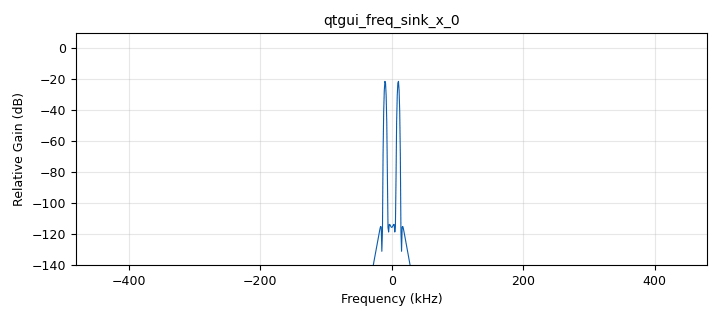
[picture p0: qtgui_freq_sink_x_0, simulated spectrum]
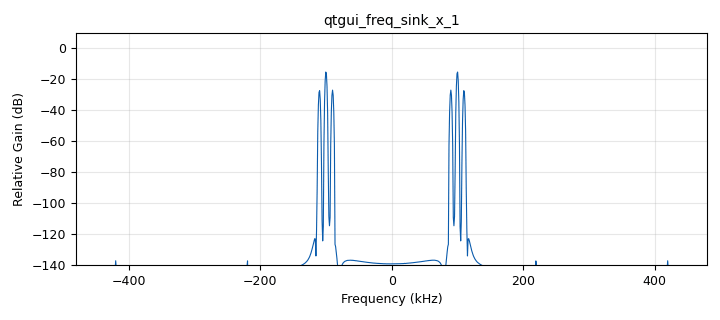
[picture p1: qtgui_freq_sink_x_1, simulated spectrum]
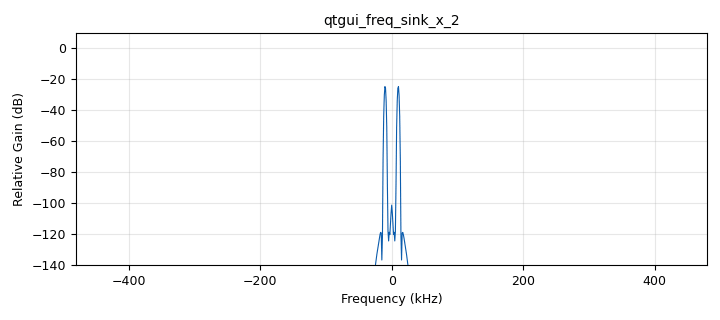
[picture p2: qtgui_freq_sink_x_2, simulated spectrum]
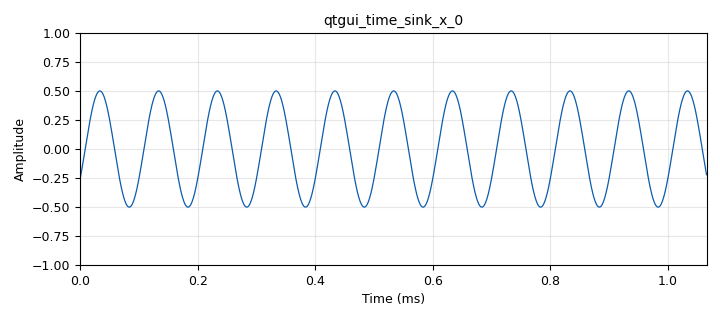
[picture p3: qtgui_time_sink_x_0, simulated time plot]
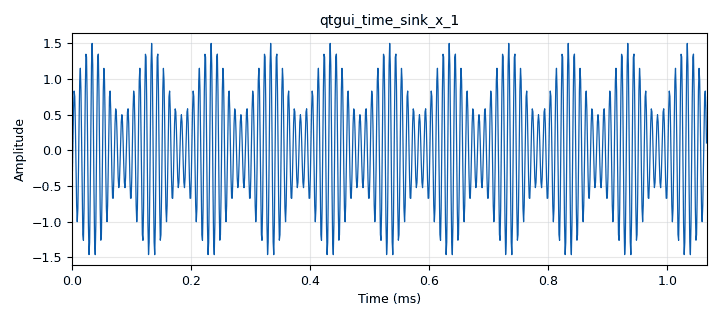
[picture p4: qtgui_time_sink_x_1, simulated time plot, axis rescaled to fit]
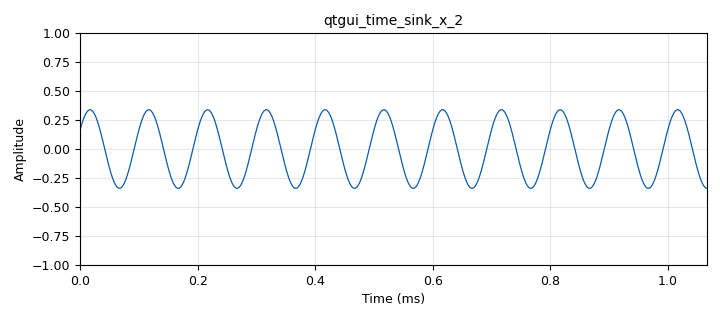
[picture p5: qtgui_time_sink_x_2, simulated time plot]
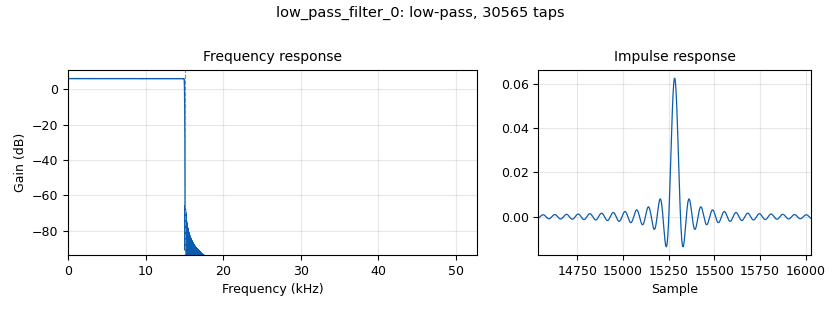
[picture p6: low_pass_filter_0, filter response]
<?xml version='1.0' encoding='utf-8'?>
<?grc format='1' created='3.7.11'?>
<flow_graph>
<block>
<key>options</key>
<param><key>id</key><value>top_block</value></param>
<param><key>generate_options</key><value>qt_gui</value></param>
</block>
<block>
<key>variable</key>
<param><key>id</key><value>samp_rate</value></param>
<param><key>value</key><value>960000</value></param>
</block>
<block>
<key>analog_sig_source_x</key>
<param><key>id</key><value>analog_sig_source_x_0</value></param>
<param><key>amp</key><value>0.5</value></param>
<param><key>freq</key><value>10000</value></param>
<param><key>offset</key><value>0</value></param>
<param><key>type</key><value>float</value></param>
<param><key>samp_rate</key><value>samp_rate</value></param>
<param><key>waveform</key><value>analog.GR_COS_WAVE</value></param>
</block>
<block>
<key>analog_sig_source_x</key>
<param><key>id</key><value>analog_sig_source_x_1</value></param>
<param><key>amp</key><value>1</value></param>
<param><key>freq</key><value>100000</value></param>
<param><key>offset</key><value>0</value></param>
<param><key>type</key><value>float</value></param>
<param><key>samp_rate</key><value>samp_rate</value></param>
<param><key>waveform</key><value>analog.GR_COS_WAVE</value></param>
</block>
<block>
<key>blocks_abs_xx</key>
<param><key>id</key><value>blocks_abs_xx_0</value></param>
<param><key>type</key><value>float</value></param>
</block>
<block>
<key>blocks_add_xx</key>
<param><key>id</key><value>blocks_add_xx_0</value></param>
<param><key>type</key><value>float</value></param>
</block>
<block>
<key>blocks_multiply_xx</key>
<param><key>id</key><value>blocks_multiply_xx_0</value></param>
<param><key>type</key><value>float</value></param>
</block>
<block>
<key>blocks_throttle</key>
<param><key>id</key><value>blocks_throttle_0</value></param>
<param><key>samples_per_second</key><value>samp_rate</value></param>
<param><key>type</key><value>float</value></param>
</block>
<block>
<key>blocks_throttle</key>
<param><key>id</key><value>blocks_throttle_1</value></param>
<param><key>samples_per_second</key><value>samp_rate</value></param>
<param><key>type</key><value>float</value></param>
</block>
<block>
<key>dc_blocker_xx</key>
<param><key>id</key><value>dc_blocker_xx_0</value></param>
<param><key>length</key><value>32</value></param>
<param><key>long_form</key><value>True</value></param>
<param><key>type</key><value>ff</value></param>
</block>
<block>
<key>qtgui_tab_widget</key>
<param><key>id</key><value>freq</value></param>
<param><key>label0</key><value>Message</value></param>
<param><key>label1</key><value>Modulated</value></param>
<param><key>label2</key><value>Demodulated</value></param>
<param><key>num_tabs</key><value>3</value></param>
</block>
<block>
<key>low_pass_filter</key>
<param><key>id</key><value>low_pass_filter_0</value></param>
<param><key>beta</key><value>6.76</value></param>
<param><key>cutoff_freq</key><value>15000</value></param>
<param><key>decim</key><value>1</value></param>
<param><key>type</key><value>fir_filter_fff</value></param>
<param><key>gain</key><value>2</value></param>
<param><key>samp_rate</key><value>samp_rate</value></param>
<param><key>width</key><value>100</value></param>
<param><key>win</key><value>firdes.WIN_KAISER</value></param>
</block>
<block>
<key>qtgui_freq_sink_x</key>
<param><key>id</key><value>qtgui_freq_sink_x_0</value></param>
<param><key>bw</key><value>samp_rate</value></param>
<param><key>fc</key><value>0</value></param>
<param><key>fftsize</key><value>1024</value></param>
<param><key>showports</key><value>True</value></param>
<param><key>type</key><value>float</value></param>
<param><key>wintype</key><value>firdes.WIN_BLACKMAN_hARRIS</value></param>
</block>
<block>
<key>qtgui_freq_sink_x</key>
<param><key>id</key><value>qtgui_freq_sink_x_1</value></param>
<param><key>bw</key><value>samp_rate</value></param>
<param><key>fc</key><value>0</value></param>
<param><key>fftsize</key><value>1024</value></param>
<param><key>showports</key><value>True</value></param>
<param><key>type</key><value>float</value></param>
<param><key>wintype</key><value>firdes.WIN_BLACKMAN_hARRIS</value></param>
</block>
<block>
<key>qtgui_freq_sink_x</key>
<param><key>id</key><value>qtgui_freq_sink_x_2</value></param>
<param><key>bw</key><value>samp_rate</value></param>
<param><key>fc</key><value>0</value></param>
<param><key>fftsize</key><value>1024</value></param>
<param><key>showports</key><value>True</value></param>
<param><key>type</key><value>float</value></param>
<param><key>wintype</key><value>firdes.WIN_BLACKMAN_hARRIS</value></param>
</block>
<block>
<key>qtgui_time_sink_x</key>
<param><key>id</key><value>qtgui_time_sink_x_0</value></param>
<param><key>color1</key><value>"blue"</value></param>
<param><key>label1</key><value></value></param>
<param><key>size</key><value>1024</value></param>
<param><key>srate</key><value>samp_rate</value></param>
<param><key>type</key><value>float</value></param>
</block>
<block>
<key>qtgui_time_sink_x</key>
<param><key>id</key><value>qtgui_time_sink_x_1</value></param>
<param><key>color1</key><value>"blue"</value></param>
<param><key>label1</key><value></value></param>
<param><key>size</key><value>1024</value></param>
<param><key>srate</key><value>samp_rate</value></param>
<param><key>type</key><value>float</value></param>
</block>
<block>
<key>qtgui_time_sink_x</key>
<param><key>id</key><value>qtgui_time_sink_x_2</value></param>
<param><key>color1</key><value>"blue"</value></param>
<param><key>label1</key><value></value></param>
<param><key>size</key><value>1024</value></param>
<param><key>srate</key><value>samp_rate</value></param>
<param><key>type</key><value>float</value></param>
</block>
<block>
<key>qtgui_tab_widget</key>
<param><key>id</key><value>tab</value></param>
<param><key>label0</key><value>Message</value></param>
<param><key>label1</key><value>Modulated</value></param>
<param><key>label2</key><value>Demodulated</value></param>
<param><key>num_tabs</key><value>3</value></param>
</block>
<connection><source_block_id>analog_sig_source_x_0</source_block_id><sink_block_id>blocks_multiply_xx_0</sink_block_id><source_key>0</source_key><sink_key>0</sink_key></connection>
<connection><source_block_id>analog_sig_source_x_0</source_block_id><sink_block_id>blocks_throttle_0</sink_block_id><source_key>0</source_key><sink_key>0</sink_key></connection>
<connection><source_block_id>analog_sig_source_x_1</source_block_id><sink_block_id>blocks_add_xx_0</sink_block_id><source_key>0</source_key><sink_key>1</sink_key></connection>
<connection><source_block_id>analog_sig_source_x_1</source_block_id><sink_block_id>blocks_multiply_xx_0</sink_block_id><source_key>0</source_key><sink_key>1</sink_key></connection>
<connection><source_block_id>blocks_abs_xx_0</source_block_id><sink_block_id>low_pass_filter_0</sink_block_id><source_key>0</source_key><sink_key>0</sink_key></connection>
<connection><source_block_id>blocks_add_xx_0</source_block_id><sink_block_id>blocks_throttle_1</sink_block_id><source_key>0</source_key><sink_key>0</sink_key></connection>
<connection><source_block_id>blocks_multiply_xx_0</source_block_id><sink_block_id>blocks_add_xx_0</sink_block_id><source_key>0</source_key><sink_key>0</sink_key></connection>
<connection><source_block_id>blocks_throttle_0</source_block_id><sink_block_id>qtgui_freq_sink_x_0</sink_block_id><source_key>0</source_key><sink_key>0</sink_key></connection>
<connection><source_block_id>blocks_throttle_0</source_block_id><sink_block_id>qtgui_time_sink_x_0</sink_block_id><source_key>0</source_key><sink_key>0</sink_key></connection>
<connection><source_block_id>blocks_throttle_1</source_block_id><sink_block_id>blocks_abs_xx_0</sink_block_id><source_key>0</source_key><sink_key>0</sink_key></connection>
<connection><source_block_id>blocks_throttle_1</source_block_id><sink_block_id>qtgui_freq_sink_x_1</sink_block_id><source_key>0</source_key><sink_key>0</sink_key></connection>
<connection><source_block_id>blocks_throttle_1</source_block_id><sink_block_id>qtgui_time_sink_x_1</sink_block_id><source_key>0</source_key><sink_key>0</sink_key></connection>
<connection><source_block_id>dc_blocker_xx_0</source_block_id><sink_block_id>qtgui_freq_sink_x_2</sink_block_id><source_key>0</source_key><sink_key>0</sink_key></connection>
<connection><source_block_id>dc_blocker_xx_0</source_block_id><sink_block_id>qtgui_time_sink_x_2</sink_block_id><source_key>0</source_key><sink_key>0</sink_key></connection>
<connection><source_block_id>low_pass_filter_0</source_block_id><sink_block_id>dc_blocker_xx_0</sink_block_id><source_key>0</source_key><sink_key>0</sink_key></connection>
</flow_graph>
